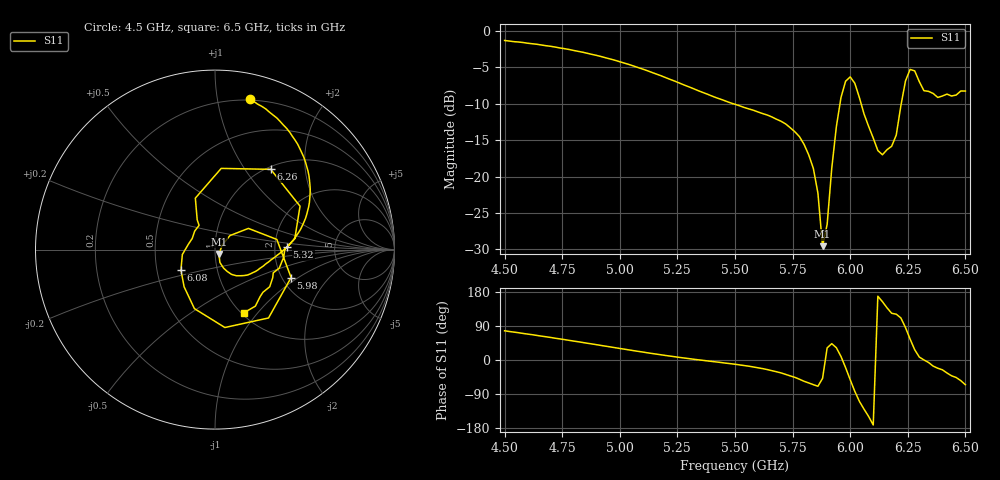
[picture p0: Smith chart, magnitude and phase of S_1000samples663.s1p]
! TOUCHSTONE file generated by CST MICROWAVE STUDIO
! Date and time: Fri Oct 28 23:01:52 2022
! Project name: L.cst
! Parameters = {Di=1.27; Epsilon_r=1.56; InnerDiameter=1.27; Length=2; Lf=10; Lg=60; OuterConductorThickness=0.2921; OuterDiameter=3.6; Wf=3; Wp=41.2; de=1.5; df=6.8; g=0.8; gx=0.961444; gy=2.99946; h=2.34; hf=1.524; px=10.7008; py=14.1319; w=9.7; wx=9.73939; wy=11.1324}
! Header version: 2018
! Port assignment regex: !\s*Touchstone port\s*([0-9]+)\s*=\s*(CST MWS port|CST DS port)\s*([0-9]+|Zmin|Zmax)\s*\(\"(.*)\"\)(\s*mode\s*([0-9]+))?.*
! Touchstone port assignment:
! Touchstone port 1 = CST MWS port 1 ("")
# GHz S DB R 50
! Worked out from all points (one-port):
!   101 points, 4.5 GHz to 6.5 GHz, reference 50 ohm
!   lowest |S11| = -29.6 dB at 5.88 GHz (marker M1), VSWR 1.07, Z = 52.2 - j2.61 ohm
!   |S11| at or under -10 dB: 5.493 GHz to 5.956 GHz (462.6 MHz wide, 8.08 % of centre); 6.048 GHz to 6.222 GHz (174 MHz wide, 2.84 % of centre)
!   S11 on the Smith chart (normalised r, x): 4.5 GHz: 0.19, +1.24; 5.32 GHz: 2.34, +0.08; 5.98 GHz: 2.24, -0.87; 6.08 GHz: 0.67, -0.16; 6.26 GHz: 1.04, +1.32; 6.5 GHz: 1.03, -0.85
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4.5  -1.30 77.1
4.76  -2.43 53.8
5  -4.23 30.5
5.26  -7.17 6.8
5.32  -7.93 2.1
5.5  -10.07 -11.2
5.76  -13.85 -45.8
5.84  -18.87 -65.1
5.86  -22.29 -69.2
5.88  -29.55 -48.5
5.9  -26.55 32.1
5.94  -13.13 32.4
5.96  -9.14 9.3
5.98  -6.90 -20.1
6  -6.31 -51.9
6.02  -7.18 -82.8
6.04  -9.16 -109.2
6.08  -13.10 -149.1
6.14  -17.00 153.9
6.18  -15.83 123.3
6.2  -14.28 120.9
6.22  -10.26 110.9
6.24  -6.86 85.6
6.26  -5.28 55.2
6.28  -5.48 27.1
6.3  -6.96 7.8
6.38  -9.13 -21.7
6.5  -8.25 -65.3
